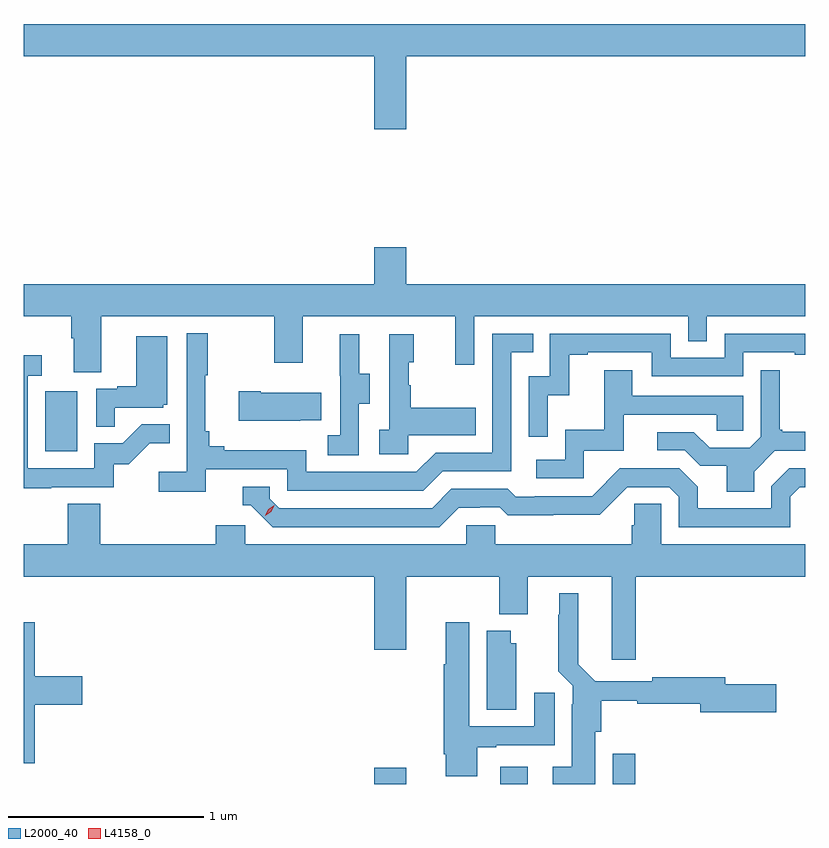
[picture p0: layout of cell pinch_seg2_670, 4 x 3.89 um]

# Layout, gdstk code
import gdstk
lib = gdstk.Library(unit=1e-6, precision=1e-09)
def R(c, l, rs):  # rectangles x0, y0, x1, y1
    for r in rs: c.add(gdstk.rectangle(r[:2], r[2:], *l))
def P(c, l, *ps):  # polygons
    for p in ps: c.add(gdstk.Polygon(p, *l))
L2000_40 = (2000, 40)
L4158_0 = (4158, 0)

pinch_seg2_670 = lib.new_cell('pinch_seg2_670')
R(pinch_seg2_670, L2000_40, [(1136.036,601.286,1136.2,601.369), (1136.681,601.286,1136.821,601.375), (1137.255,601.286,1137.371,601.441), (1134.35,602.988,1134.514,603.295)])
P(pinch_seg2_670, L2000_40, [(1136.2,605.012),(1138.241,605.012),(1138.241,605.176),(1134.241,605.176),(1134.241,605.012),(1136.036,605.012),(1136.036,604.638),(1136.2,604.638)],
  [(1134.637,603.68),(1135.522,603.68),(1135.522,603.441),(1135.669,603.441),(1135.669,603.68),(1136.45,603.68),(1136.45,603.432),(1136.547,603.432),(1136.547,603.68),(1137.642,603.68),(1137.642,603.553),(1137.738,603.553),(1137.738,603.68),(1138.241,603.68),(1138.241,603.844),(1136.2,603.844),(1136.2,604.033),(1136.036,604.033),(1136.036,603.844),(1134.241,603.844),(1134.241,603.68),(1134.485,603.68),(1134.485,603.568),(1134.497,603.568),(1134.497,603.394),(1134.637,603.394)],
  [(1135.172,602.898),(1135.59,602.898),(1135.59,602.787),(1136.287,602.787),(1136.386,602.886),(1136.736,602.886),(1136.736,603.495),(1136.849,603.495),(1136.849,603.591),(1136.64,603.591),(1136.64,602.982),(1136.349,602.982),(1136.25,602.883),(1135.686,602.883),(1135.686,602.995),(1135.267,602.995),(1135.267,603.014),(1135.19,603.014),(1135.19,603.091),(1135.171,603.091),(1135.171,603.379),(1135.183,603.379),(1135.183,603.592),(1135.074,603.592),(1135.074,602.884),(1134.933,602.884),(1134.933,602.782),(1135.172,602.782)],
  [(1136.922,603.275),(1137.032,603.275),(1137.032,603.483),(1137.127,603.483),(1137.127,603.495),(1137.456,603.495),(1137.456,603.372),(1137.924,603.372),(1137.924,603.495),(1138.187,603.495),(1138.187,603.483),(1138.241,603.483),(1138.241,603.591),(1137.828,603.591),(1137.828,603.468),(1137.552,603.468),(1137.552,603.591),(1136.934,603.591),(1136.934,603.372),(1136.826,603.372),(1136.826,603.063),(1136.922,603.063)],
  [(1135.956,603.232),(1136.011,603.232),(1136.011,603.387),(1135.957,603.387),(1135.957,603.589),(1135.859,603.589),(1135.859,603.375),(1135.86,603.375),(1135.86,603.071),(1135.797,603.071),(1135.797,602.968),(1135.956,602.968)],
  [(1136.208,603.071),(1136.555,603.071),(1136.555,603.211),(1136.221,603.211),(1136.221,603.326),(1136.211,603.326),(1136.211,603.444),(1136.236,603.444),(1136.236,603.589),(1136.112,603.589),(1136.112,603.098),(1136.061,603.098),(1136.061,602.973),(1136.208,602.973)],
  [(1134.707,603.213),(1134.954,603.213),(1134.954,603.228),(1134.976,603.228),(1134.976,603.577),(1134.818,603.577),(1134.818,603.322),(1134.719,603.322),(1134.719,603.309),(1134.612,603.309),(1134.612,603.115),(1134.707,603.115)],
  [(1134.383,602.805),(1134.702,602.805),(1134.702,602.922),(1134.778,602.922),(1134.885,603.029),(1134.989,603.029),(1134.989,603.128),(1134.845,603.128),(1134.747,603.03),(1134.603,603.03),(1134.603,602.901),(1134.261,602.901),(1134.261,603.375),(1134.334,603.375),(1134.334,603.481),(1134.241,603.481),(1134.241,602.8),(1134.383,602.8)],
  [(1137.979,602.884),(1138.086,602.991),(1138.241,602.991),(1138.241,603.088),(1138.123,603.088),(1138.123,603.1),(1138.111,603.1),(1138.111,603.403),(1138.014,603.403),(1138.014,603.063),(1137.957,603.006),(1137.751,603.006),(1137.67,603.087),(1137.483,603.087),(1137.483,602.994),(1137.624,602.994),(1137.704,602.914),(1137.839,602.914),(1137.839,602.782),(1137.979,602.782)],
  [(1137.108,602.991),(1137.313,602.991),(1137.313,603.177),(1137.787,603.177),(1137.787,603.093),(1137.924,603.093),(1137.924,603.273),(1137.355,603.273),(1137.355,603.403),(1137.211,603.403),(1137.211,603.1),(1137.012,603.1),(1137.012,602.946),(1136.865,602.946),(1136.865,602.85),(1137.108,602.85)],
  [(1135.655,603.149),(1135.763,603.149),(1135.763,603.289),(1135.453,603.289),(1135.453,603.297),(1135.341,603.297),(1135.341,603.146),(1135.655,603.146)],
  [(1136.467,602.7),(1136.574,602.7),(1136.574,602.703),(1136.677,602.703),(1136.719,602.661),(1136.952,602.661),(1136.952,602.663),(1137.188,602.663),(1137.33,602.805),(1137.546,602.805),(1137.594,602.757),(1137.594,602.601),(1138.164,602.601),(1138.164,602.757),(1138.212,602.805),(1138.241,602.805),(1138.241,602.901),(1138.158,602.901),(1138.068,602.811),(1138.068,602.697),(1137.691,602.697),(1137.691,602.807),(1137.597,602.901),(1137.291,602.901),(1137.15,602.76),(1136.857,602.76),(1136.857,602.757),(1136.758,602.757),(1136.719,602.796),(1136.43,602.796),(1136.331,602.697),(1135.548,602.697),(1135.5,602.745),(1135.5,602.808),(1135.361,602.808),(1135.361,602.712),(1135.404,602.712),(1135.515,602.601),(1136.368,602.601)],
  [(1137.374,602.348),(1138.241,602.348),(1138.241,602.512),(1137.504,602.512),(1137.504,602.72),(1137.367,602.72),(1137.367,602.61),(1137.353,602.61),(1137.353,602.512),(1136.655,602.512),(1136.655,602.61),(1136.505,602.61),(1136.505,602.512),(1135.374,602.512),(1135.374,602.61),(1135.223,602.61),(1135.223,602.512),(1134.632,602.512),(1134.632,602.72),(1134.467,602.72),(1134.467,602.512),(1134.241,602.512),(1134.241,602.348),(1136.036,602.348),(1136.036,601.974),(1136.2,601.974),(1136.2,602.348),(1136.674,602.348),(1136.674,602.156),(1136.821,602.156),(1136.821,602.348),(1137.251,602.348),(1137.251,601.923),(1137.374,601.923)],
  [(1137.166,601.554),(1137.197,601.554),(1137.197,601.711),(1137.38,601.711),(1137.38,601.696),(1137.704,601.696),(1137.704,601.654),(1138.093,601.654),(1138.093,601.796),(1137.832,601.796),(1137.832,601.832),(1137.457,601.832),(1137.457,601.812),(1137.166,601.812),(1137.079,601.9),(1137.079,602.263),(1136.981,602.263),(1136.981,602.153),(1136.977,602.153),(1136.977,601.862),(1137.051,601.788),(1137.051,601.694),(1137.047,601.694),(1137.047,601.375),(1136.949,601.375),(1136.949,601.286),(1137.166,601.286)],
  [(1134.298,601.691),(1134.541,601.691),(1134.541,601.838),(1134.298,601.838),(1134.298,602.113),(1134.241,602.113),(1134.241,601.392),(1134.298,601.392)],
  [(1136.563,601.473),(1136.659,601.473),(1136.659,601.485),(1136.959,601.485),(1136.959,601.753),(1136.855,601.753),(1136.855,601.581),(1136.521,601.581),(1136.521,602.113),(1136.402,602.113),(1136.402,601.9),(1136.39,601.9),(1136.39,601.438),(1136.402,601.438),(1136.402,601.326),(1136.563,601.326)],
  [(1136.761,602.007),(1136.734,602.007),(1136.734,602.071),(1136.612,602.071),(1136.612,601.666),(1136.761,601.666)])
P(pinch_seg2_670, L4158_0, [(1135.477,602.658),(1135.477,602.658),(1135.493,602.692),(1135.523,602.712),(1135.523,602.712),(1135.523,602.712),(1135.508,602.679),(1135.477,602.658)])

lib.write_gds('pinch_seg2_670.gds')
